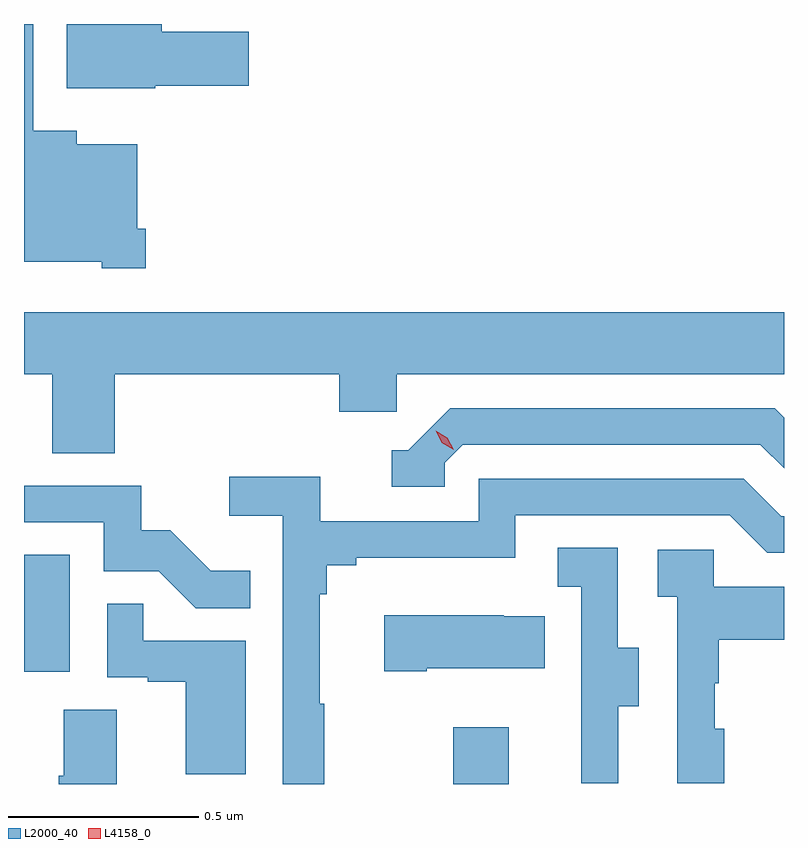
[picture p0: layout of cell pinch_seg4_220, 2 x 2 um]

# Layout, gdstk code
import gdstk
lib = gdstk.Library(unit=1e-6, precision=1e-09)
def R(c, l, rs):  # rectangles x0, y0, x1, y1
    for r in rs: c.add(gdstk.rectangle(r[:2], r[2:], *l))
def P(c, l, *ps):  # polygons
    for p in ps: c.add(gdstk.Polygon(p, *l))
L2000_40 = (2000, 40)
L4158_0 = (4158, 0)

pinch_seg4_220 = lib.new_cell('pinch_seg4_220')
R(pinch_seg4_220, L2000_40, [(1002.766,819.718,1002.913,819.868), (1001.637,820.014,1001.758,820.321)])
P(pinch_seg4_220, L2000_40, [(1001.957,821.179),(1001.935,821.179),(1001.935,821.401),(1001.776,821.401),(1001.776,821.437),(1001.661,821.437),(1001.661,821.718),(1001.637,821.718),(1001.637,821.093),(1001.841,821.093),(1001.841,821.075),(1001.957,821.075)],
  [(1001.982,821.555),(1002.229,821.555),(1002.229,821.697),(1001.999,821.697),(1001.999,821.718),(1001.75,821.718),(1001.75,821.549),(1001.982,821.549)],
  [(1001.876,820.796),(1002.467,820.796),(1002.467,820.698),(1002.618,820.698),(1002.618,820.796),(1003.637,820.796),(1003.637,820.96),(1001.637,820.96),(1001.637,820.796),(1001.711,820.796),(1001.711,820.588),(1001.876,820.588)],
  [(1002.744,820.563),(1002.792,820.611),(1003.575,820.611),(1003.637,820.549),(1003.637,820.682),(1003.612,820.707),(1002.759,820.707),(1002.648,820.596),(1002.605,820.596),(1002.605,820.5),(1002.744,820.5)],
  [(1002.427,819.929),(1002.415,819.929),(1002.415,820.217),(1002.434,820.217),(1002.434,820.294),(1002.511,820.294),(1002.511,820.313),(1002.93,820.313),(1002.93,820.425),(1003.494,820.425),(1003.593,820.326),(1003.637,820.326),(1003.637,820.422),(1003.63,820.422),(1003.531,820.521),(1002.834,820.521),(1002.834,820.41),(1002.416,820.41),(1002.416,820.526),(1002.177,820.526),(1002.177,820.424),(1002.318,820.424),(1002.318,819.718),(1002.427,819.718)],
  [(1002.233,820.279),(1002.129,820.279),(1002.022,820.386),(1001.946,820.386),(1001.946,820.503),(1001.637,820.503),(1001.637,820.407),(1001.847,820.407),(1001.847,820.278),(1001.991,820.278),(1002.089,820.18),(1002.233,820.18)],
  [(1003.201,819.922),(1003.255,819.922),(1003.255,820.077),(1003.2,820.077),(1003.2,820.34),(1003.041,820.34),(1003.041,820.237),(1003.104,820.237),(1003.104,819.933),(1003.103,819.933),(1003.103,819.72),(1003.201,819.72)],
  [(1003.48,819.864),(1003.455,819.864),(1003.455,819.983),(1003.465,819.983),(1003.465,820.097),(1003.637,820.097),(1003.637,820.237),(1003.452,820.237),(1003.452,820.335),(1003.305,820.335),(1003.305,820.211),(1003.356,820.211),(1003.356,819.72),(1003.48,819.72)],
  [(1002.22,820.095),(1001.951,820.095),(1001.951,820.193),(1001.856,820.193),(1001.856,819.999),(1001.963,819.999),(1001.963,819.987),(1002.062,819.987),(1002.062,819.744),(1002.22,819.744)],
  [(1002.697,820.022),(1003.007,820.022),(1003.007,820.159),(1002.899,820.159),(1002.899,820.162),(1002.585,820.162),(1002.585,820.015),(1002.697,820.015)],
  [(1001.881,819.914),(1001.741,819.914),(1001.741,819.74),(1001.729,819.74),(1001.729,819.718),(1001.881,819.718)])
P(pinch_seg4_220, L4158_0, [(1002.768,820.597),(1002.736,820.616),(1002.72,820.648),(1002.72,820.648),(1002.72,820.648),(1002.751,820.629),(1002.768,820.597),(1002.768,820.597)])

lib.write_gds('pinch_seg4_220.gds')
